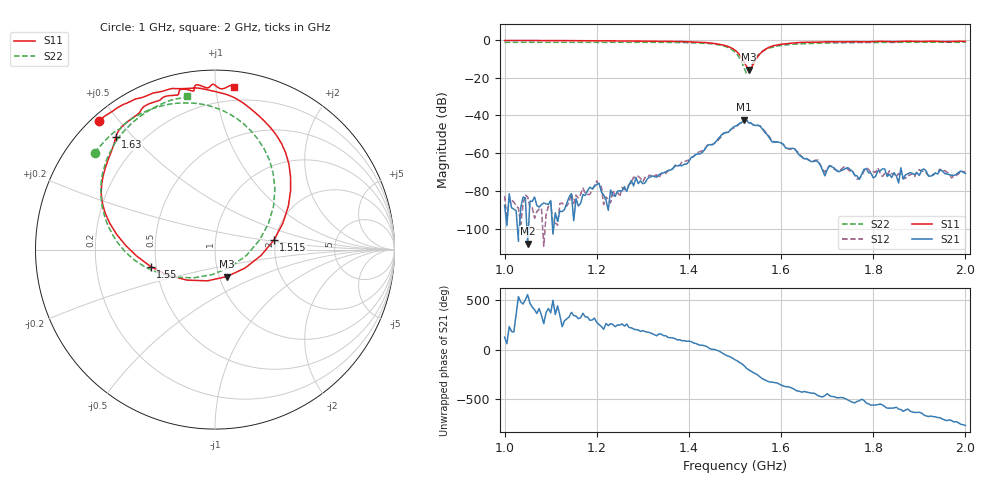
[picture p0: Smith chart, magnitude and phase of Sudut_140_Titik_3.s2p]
# Hz S RI R 50
! CMT, C1220, 16058040, 17.2.0/1
! Date: 14/08/2018 12:38:32
! Data: Format (Calibration Info)
! Freq  S11: Re/Im (F2)  S21: Re/Im (F2)  S12: Re/Im (F2)  S22: Re/Im (F2)
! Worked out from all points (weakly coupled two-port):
!   201 points, 1 GHz to 2 GHz, reference 50 ohm
!   highest |S21| = -42.27 dB at 1.52 GHz (marker M1); lowest = -107.8 dB at 1.05 GHz (marker M2)
!   lowest |S11| = -15.7 dB at 1.53 GHz (marker M3), VSWR 1.39, Z = 54.4 - j16.8 ohm
!   |S11| at or under -10 dB: 1.516 GHz to 1.546 GHz (30.41 MHz wide, 1.99 % of centre)
!   |S22| runs from -17.8 to -1.2 dB; largest |S21 - S12| = 0.00032
!   S11 on the Smith chart (normalised r, x): 1 GHz: 0.02, +0.44; 1.515 GHz: 1.96, +0.23; 1.55 GHz: 0.47, -0.10; 1.63 GHz: 0.11, +0.45; 2 GHz: 0.10, +1.11
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1e9  -0.6472 0.7144  -2.46e-05 3.32e-05  6.74e-05 -3.08e-05  -0.6705 0.539
1.05e9  -0.6057 0.7493  -3.84e-06 -1.38e-06  4.09e-06 7.02e-05  -0.6427 0.5725
1.17e9  -0.4754 0.8234  7.92e-05 1.34e-05  0.000103 -6.03e-05  -0.5587 0.6568
1.265e9  -0.3383 0.8739  -1.65e-05 -9.68e-05  -5.21e-05 -0.000111  -0.4746 0.7214
1.285e9  -0.3048 0.8794  -0.000211 -8.81e-05  -0.000202 -9.38e-05  -0.45 0.7371
1.335e9  -0.2143 0.8967  -0.000253 8.98e-05  -0.0002 8.4e-05  -0.3746 0.7745
1.45e9  0.1849 0.7956  0.00166 0.000107  0.00169 -1.56e-05  0.0176 0.7847
1.5e9  0.4214 0.3294  -0.00112 -0.00504  -0.00106 -0.00475  0.3338 0.3369
1.515e9  0.3273 0.0519  -0.00531 -0.00389  -0.00529 -0.00406  0.2464 0.0511
1.52e9  0.2563 -0.033  -0.00741 -0.00209  -0.00743 -0.00216  0.1755 -0.0323
1.53e9  0.0663 -0.1503  -0.00572 0.00281  -0.00579 0.00282  -0.0151 -0.1393
1.55e9  -0.3574 -0.0954  -0.000921 0.00541  -0.00118 0.00541  -0.3849 -0.1002
1.63e9  -0.5533 0.6254  0.000891 -0.00094  0.000944 -0.00082  -0.6156 0.4641
1.67e9  -0.4361 0.75  9.33e-05 -0.000592  8.58e-05 -0.000617  -0.564 0.5815
1.695e9  -0.4042 0.7892  -7.5e-05 -0.00024  -5.56e-05 -0.000308  -0.5318 0.6297
1.74e9  -0.2998 0.8389  -0.000297 -0.000257  -0.000384 -0.000242  -0.4721 0.6964
1.765e9  -0.2495 0.8582  -0.000243 -6.07e-05  -0.000206 -1.92e-05  -0.4418 0.7231
1.785e9  -0.2052 0.8634  -0.000388 1.67e-05  -0.000413 -2.94e-05  -0.4165 0.7423
1.835e9  -0.1285 0.8844  -0.000158 0.000226  -0.000162 0.000301  -0.3569 0.7818
1.855e9  -0.1156 0.8993  -7.05e-05 0.000147  -0.000136 0.000257  -0.333 0.7944
1.86e9  -0.1141 0.9075  -0.000151 0.000383  -0.000127 0.000242  -0.3269 0.7976
2e9  0.1032 0.9065  0.000186 -0.000225  0.000206 -0.00025  -0.157 0.854
